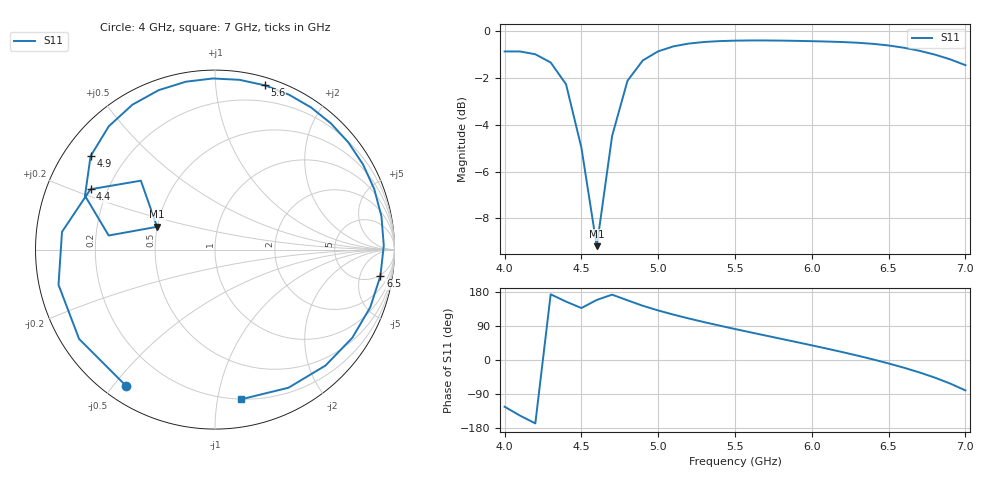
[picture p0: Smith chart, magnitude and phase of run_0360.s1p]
! Touchstone file exported from HFSS 2024.2.0
!  File:  C:/Users/wsak9/Desktop/Sim Fast/Widenad Patch/WP_AI_V1_sweep.aedt
!  Generated:  06:18:32 AM Oct 14, 2026
!  Design:  A1_model
!  Project:  WP_AI_V1_sweep
!  Setup:  Setup1
!  Solution:  Sweep
! Variables:
!  Air_gap = 3.06mm
!  Curve_Amp1 = 1.55
!  Curve_len1 = 1
!  Curve_pos = 12.39mm
!  Extra = 2.69mm
!  H_sub = 0.79mm
!  L_Patch = 20.78mm
!  L_Patch1 = 14.82mm
!  Sx = 3.58mm
!  Sy = 2.36mm
!  WS = 0.2mm
!  W_Patch = 18.23mm
!  W_Patch1 = 12.13mm
!Data is not renormalized
# GHz S MA
! Terminal data exported
! Port[1] = 1
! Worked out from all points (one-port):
!   31 points, 4 GHz to 7 GHz, reference per port
!   lowest |S11| = -9.2 dB at 4.6 GHz (marker M1), VSWR 2.06
!   |S11| at or under -10 dB: nowhere
!   S11 on the Smith chart (normalised r, x): 4 GHz: 0.06, -0.54; 4.4 GHz: 0.14, +0.23; 4.9 GHz: 0.08, +0.33; 5.6 GHz: 0.06, +1.35; 6.5 GHz: 5, -11; 7 GHz: 0.20, -1.17
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4  0.9062 -123.3
4.1  0.9061 -146.7
4.2  0.8937 -167.3
4.3  0.8581 173.4
4.4  0.7708 154.1
4.5  0.5638 137.1
4.6  0.3469 158.5
4.7  0.5975 172.4
4.8  0.7841 157.5
4.9  0.8671 143.1
5  0.9068 130.7
5.1  0.9293 119.7
5.2  0.9421 109.5
5.3  0.9494 99.9
5.4  0.9535 90.7
5.5  0.9557 81.8
5.6  0.9566 73.1
5.7  0.9565 64.5
5.9  0.9547 47.3
6.1  0.9515 29.9
6.3  0.9458 11.3
6.4  0.9407 1.4
6.5  0.9332 -9.1
6.6  0.9228 -20.4
6.7  0.9092 -32.7
6.8  0.8924 -46.3
6.9  0.8718 -62.0
7  0.8469 -80.2
